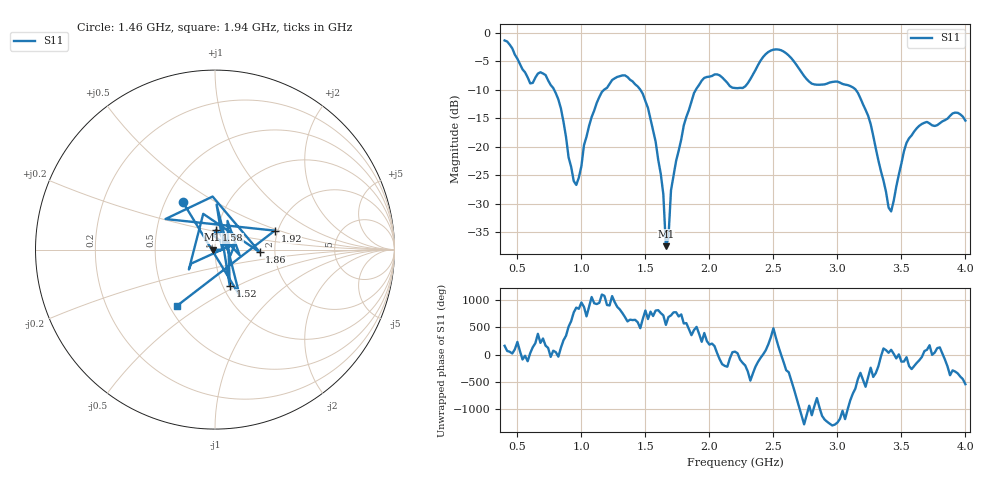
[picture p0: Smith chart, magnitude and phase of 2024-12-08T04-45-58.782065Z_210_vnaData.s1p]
!Created with skrf (http://scikit-rf.org).
# Hz S RI R 50.0
!freq ReS11 ImS11
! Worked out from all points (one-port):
!   181 points, 400 MHz to 4 GHz, reference 50 ohm
!   lowest |S11| = -37.5 dB at 1.66 GHz (marker M1), VSWR 1.03, Z = 48.7 - j0.111 ohm
!   |S11| at or under -10 dB: 786.6 MHz to 1.178 GHz (391.1 MHz wide, 39.8 % of centre); 1.46 GHz to 1.894 GHz (434 MHz wide, 25.9 % of centre); 3.143 GHz to end of sweep
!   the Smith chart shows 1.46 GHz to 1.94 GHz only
!   S11 on the Smith chart (normalised r, x): 1.46 GHz: 0.62, +0.36; 1.52 GHz: 1.08, -0.46; 1.58 GHz: 0.99, +0.22; 1.86 GHz: 1.66, -0.05; 1.92 GHz: 1.92, +0.46; 1.94 GHz: 0.54, -0.40
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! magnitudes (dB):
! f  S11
! 400 MHz  -1.3
! 600 MHz  -8.9
! 720 MHz  -7.4
! 860 MHz  -15.6
! 960 MHz  -26.7
! 1.12 GHz  -12.3
! 1.3 GHz  -7.6
! 1.46 GHz  -10.0
! 1.52 GHz  -13.2
! 1.58 GHz  -19.1
! 1.64 GHz  -28.4
! 1.66 GHz  -37.5
! 1.68 GHz  -36.0
! 1.7 GHz  -27.7
! 1.76 GHz  -20.7
! 1.86 GHz  -12.1
! 1.92 GHz  -9.1
! 1.94 GHz  -8.4
! 2.2 GHz  -9.7
! 2.48 GHz  -3.1
! 2.66 GHz  -5.0
! 2.8 GHz  -8.9
! 3.1 GHz  -9.4
! 3.24 GHz  -14.6
! 3.42 GHz  -31.4
! 3.56 GHz  -18.5
! 3.92 GHz  -14.0
! 4 GHz  -15.4
